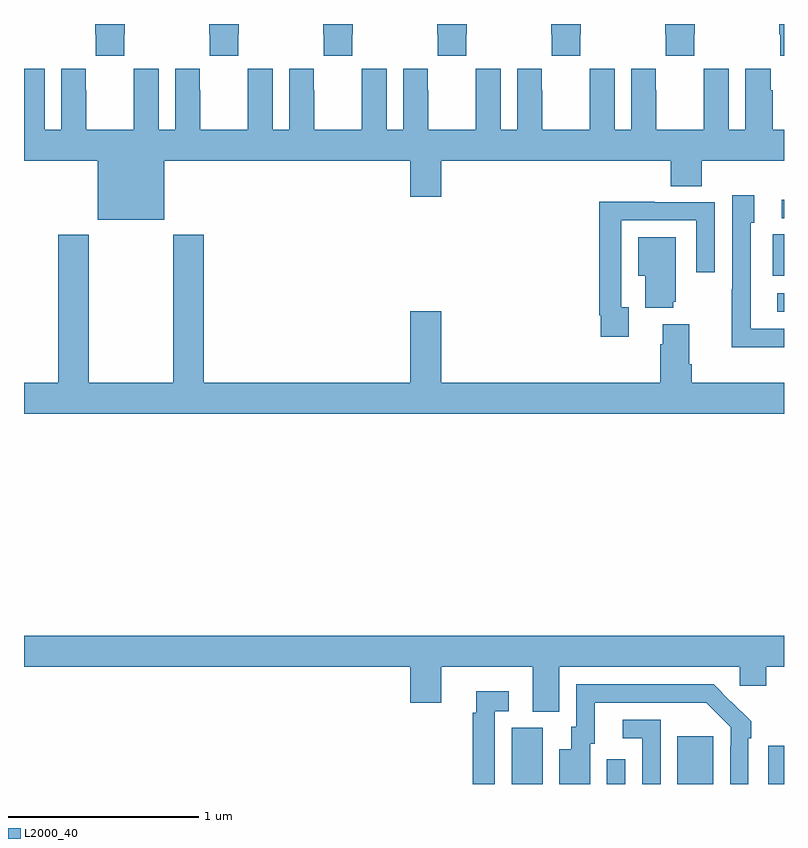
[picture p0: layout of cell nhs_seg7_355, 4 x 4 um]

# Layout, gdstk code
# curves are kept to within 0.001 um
import gdstk
lib = gdstk.Library(unit=1e-6, precision=1e-09)
def R(c, l, rs):  # rectangles x0, y0, x1, y1
    for r in rs: c.add(gdstk.rectangle(r[:2], r[2:], *l))
def P(c, l, *ps):  # polygons
    for p in ps: c.add(gdstk.Polygon(p, *l))
L2000_40 = (2000, 40)

nhs_seg7_355 = lib.new_cell('nhs_seg7_355')
R(nhs_seg7_355, L2000_40, [(141.566,1000,141.73,1000.296), (142.068,1000,142.164,1000.129), (142.439,1000,142.627,1000.252), (142.917,1000,143,1000.201), (142.965,1002.486,143,1002.582), (142.94,1002.674,143,1002.893), (142.989,1002.978,143,1003.076)])
P(nhs_seg7_355, L2000_40, [(143,1004),(142.975,1004),(142.975,1003.945),(142.981,1003.945),(142.981,1003.833),(143,1003.833)],
  [(142.527,1003.945),(142.53,1003.945),(142.53,1004),(142.375,1004),(142.375,1003.945),(142.377,1003.945),(142.377,1003.833),(142.527,1003.833)],
  [(141.927,1003.945),(141.93,1003.945),(141.93,1004),(141.775,1004),(141.775,1003.945),(141.777,1003.945),(141.777,1003.833),(141.927,1003.833)],
  [(141.327,1003.945),(141.33,1003.945),(141.33,1004),(141.175,1004),(141.175,1003.945),(141.177,1003.945),(141.177,1003.833),(141.327,1003.833)],
  [(140.727,1003.945),(140.73,1003.945),(140.73,1004),(140.575,1004),(140.575,1003.945),(140.577,1003.945),(140.577,1003.833),(140.727,1003.833)],
  [(140.127,1003.945),(140.13,1003.945),(140.13,1004),(139.975,1004),(139.975,1003.945),(139.977,1003.945),(139.977,1003.833),(140.127,1003.833)],
  [(139.527,1003.945),(139.53,1003.945),(139.53,1004),(139.375,1004),(139.375,1003.945),(139.377,1003.945),(139.377,1003.833),(139.527,1003.833)],
  [(141.032,1003.092),(141.196,1003.092),(141.196,1003.28),(142.403,1003.28),(142.403,1003.147),(142.568,1003.147),(142.568,1003.28),(143,1003.28),(143,1003.444),(142.94,1003.444),(142.94,1003.652),(142.93,1003.652),(142.93,1003.765),(142.796,1003.765),(142.796,1003.444),(142.708,1003.444),(142.708,1003.765),(142.578,1003.765),(142.578,1003.652),(142.577,1003.652),(142.577,1003.444),(142.327,1003.444),(142.327,1003.652),(142.326,1003.652),(142.326,1003.765),(142.196,1003.765),(142.196,1003.444),(142.108,1003.444),(142.108,1003.765),(141.978,1003.765),(141.978,1003.652),(141.977,1003.652),(141.977,1003.444),(141.727,1003.444),(141.727,1003.652),(141.726,1003.652),(141.726,1003.765),(141.596,1003.765),(141.596,1003.444),(141.508,1003.444),(141.508,1003.765),(141.378,1003.765),(141.378,1003.652),(141.377,1003.652),(141.377,1003.444),(141.127,1003.444),(141.127,1003.652),(141.126,1003.652),(141.126,1003.765),(140.996,1003.765),(140.996,1003.444),(140.908,1003.444),(140.908,1003.765),(140.778,1003.765),(140.778,1003.652),(140.777,1003.652),(140.777,1003.444),(140.527,1003.444),(140.527,1003.652),(140.526,1003.652),(140.526,1003.765),(140.396,1003.765),(140.396,1003.444),(140.308,1003.444),(140.308,1003.765),(140.178,1003.765),(140.178,1003.652),(140.177,1003.652),(140.177,1003.444),(139.927,1003.444),(139.927,1003.652),(139.926,1003.652),(139.926,1003.765),(139.796,1003.765),(139.796,1003.444),(139.708,1003.444),(139.708,1003.765),(139.578,1003.765),(139.578,1003.652),(139.577,1003.652),(139.577,1003.444),(139.327,1003.444),(139.327,1003.652),(139.326,1003.652),(139.326,1003.765),(139.196,1003.765),(139.196,1003.444),(139.108,1003.444),(139.108,1003.765),(139,1003.765),(139,1003.28),(139.388,1003.28),(139.388,1002.971),(139.738,1002.971),(139.738,1003.28),(141.032,1003.28)],
  [(143,1002.396),(142.824,1002.396),(142.824,1002.954),(142.843,1002.954),(142.843,1003.099),(142.728,1003.099),(142.728,1002.605),(142.726,1002.605),(142.726,1002.299),(143,1002.299)],
  [(142.183,1002.51),(142.143,1002.51),(142.143,1002.966),(142.539,1002.966),(142.539,1002.693),(142.635,1002.693),(142.635,1003.062),(142.319,1003.062),(142.319,1003.064),(142.027,1003.064),(142.027,1002.466),(142.035,1002.466),(142.035,1002.354),(142.183,1002.354)],
  [(143,1002.112),(142.514,1002.112),(142.514,1002.208),(142.501,1002.208),(142.501,1002.421),(142.361,1002.421),(142.361,1002.314),(142.349,1002.314),(142.349,1002.112),(141.196,1002.112),(141.196,1002.487),(141.032,1002.487),(141.032,1002.112),(139.946,1002.112),(139.946,1002.892),(139.786,1002.892),(139.786,1002.112),(139.341,1002.112),(139.341,1002.892),(139.181,1002.892),(139.181,1002.112),(139,1002.112),(139,1001.948),(143,1001.948)],
  [(142.418,1002.537),(142.429,1002.537),(142.429,1002.877),(142.232,1002.877),(142.232,1002.674),(142.271,1002.674),(142.271,1002.506),(142.418,1002.506)],
  [(141.817,1000.616),(142.767,1000.616),(142.767,1000.518),(142.906,1000.518),(142.906,1000.616),(143,1000.616),(143,1000.78),(139,1000.78),(139,1000.616),(141.032,1000.616),(141.032,1000.428),(141.196,1000.428),(141.196,1000.616),(141.677,1000.616),(141.677,1000.381),(141.817,1000.381)],
  [(141.979,1000.212),(142.003,1000.212),(142.003,1000.428),(142.591,1000.428),(142.719,1000.299),(142.719,1000.199),(142.716,1000.199),(142.716,1000),(142.812,1000),(142.812,1000.241),(142.827,1000.241),(142.827,1000.329),(142.63,1000.524),(141.906,1000.524),(141.906,1000.302),(141.881,1000.302),(141.881,1000.183),(141.818,1000.183),(141.818,1000),(141.979,1000)],
  [(141.477,1000.383),(141.55,1000.383),(141.55,1000.489),(141.38,1000.489),(141.38,1000.376),(141.361,1000.376),(141.361,1000),(141.477,1000)],
  [(142.35,1000.338),(142.152,1000.338),(142.152,1000.242),(142.254,1000.242),(142.254,1000),(142.35,1000)])

lib.write_gds('nhs_seg7_355.gds')
